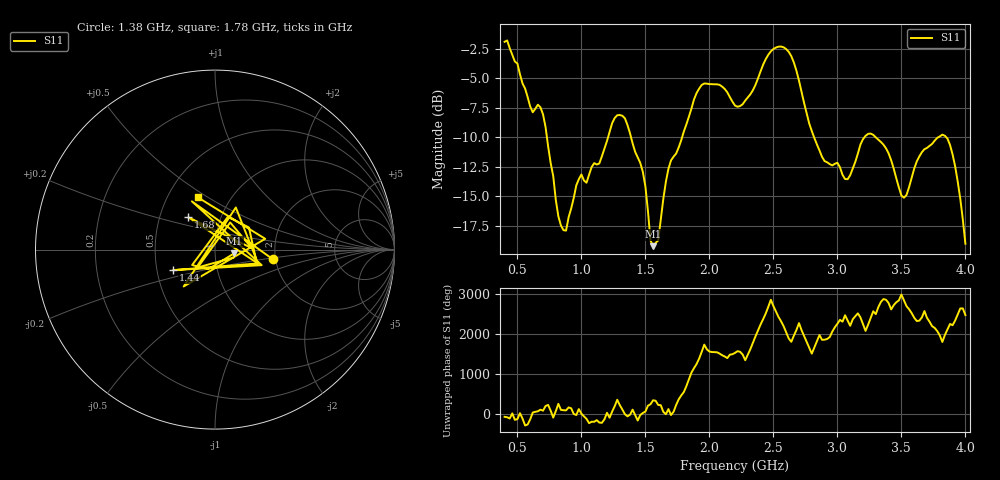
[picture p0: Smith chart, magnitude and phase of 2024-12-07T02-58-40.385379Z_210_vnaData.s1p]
!Created with skrf (http://scikit-rf.org).
# Hz S RI R 50.0
!freq ReS11 ImS11
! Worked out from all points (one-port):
!   181 points, 400 MHz to 4 GHz, reference 50 ohm
!   lowest |S11| = -19.2 dB at 1.56 GHz (marker M1), VSWR 1.25, Z = 62 - j2.6 ohm
!   |S11| at or under -10 dB: 730.5 MHz to 1.208 GHz (477.9 MHz wide, 49.3 % of centre); 1.388 GHz to 1.787 GHz (399.1 MHz wide, 25.1 % of centre); 3.299 GHz to 3.789 GHz (489.3 MHz wide, 13.8 % of centre) (the widest 3 of 5)
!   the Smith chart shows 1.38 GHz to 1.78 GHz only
!   S11 on the Smith chart (normalised r, x): 1.38 GHz: 1.94, -0.24; 1.44 GHz: 0.61, -0.15; 1.68 GHz: 0.70, +0.27; 1.78 GHz: 0.70, +0.45
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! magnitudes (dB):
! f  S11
! 400 MHz  -1.9
! 620 MHz  -7.9
! 700 MHz  -8.1
! 860 MHz  -17.9
! 980 MHz  -13.6
! 1.14 GHz  -12.2
! 1.3 GHz  -8.1
! 1.38 GHz  -9.7
! 1.44 GHz  -11.7
! 1.56 GHz  -19.2
! 1.6 GHz  -18.7
! 1.68 GHz  -12.7
! 1.76 GHz  -10.9
! 1.78 GHz  -10.2
! 1.94 GHz  -5.6
! 2.2 GHz  -7.3
! 2.5 GHz  -2.5
! 2.66 GHz  -3.7
! 2.88 GHz  -11.7
! 3.1 GHz  -13.2
! 3.26 GHz  -9.7
! 3.4 GHz  -11.4
! 3.5 GHz  -14.9
! 3.56 GHz  -14.2
! 3.66 GHz  -11.3
! 3.84 GHz  -9.9
! 3.92 GHz  -12.5
! 4 GHz  -19.0
